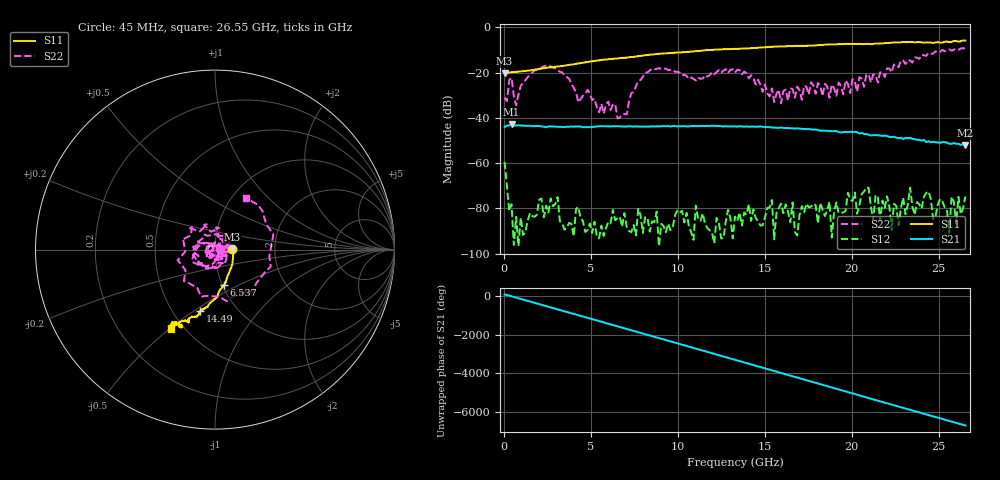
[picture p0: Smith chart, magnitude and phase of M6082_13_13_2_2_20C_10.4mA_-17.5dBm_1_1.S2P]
!  2-Port S-parameters saved by WinCal
! VAR MeasName=S-Parameters (CALIBRATED_DATA) read from VNA (C)
! VAR MeasDate=10/16/2015 11:02:53 AM
! VAR NAME=M6082_13_13_2_2_20C_10.4mA_-17.5dBm
! VAR FILENAME=M6082_13_13_2_2_20C_10.4mA_-17.5dBm_1_1.S2P
! VAR DATE=10/16/2015 11:02:53 AM
! VAR PHYS_PORTS=2,1
! VAR ObjTypeName=DATASET
! VAR IndexType=Frequency
# Hz S RI R 50
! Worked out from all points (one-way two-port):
!   201 points, 45 MHz to 26.55 GHz, reference 50 ohm
!   highest |S21| = -42.68 dB at 442.5 MHz (marker M1); lowest = -52.1 dB at 26.55 GHz (marker M2)
!   lowest |S11| = -20.3 dB at 45 MHz (marker M3), VSWR 1.21, Z = 60.7 + j0.181 ohm
!   |S11| at or under -10 dB: start of sweep to 11.82 GHz
!   |S22| runs from -40.2 to -9.2 dB; largest |S21 - S12| = 0.0072
!   S11 on the Smith chart (normalised r, x): 45 MHz: 1.21, +0.00; 6.537 GHz: 1.01, -0.42; 14.49 GHz: 0.68, -0.53; 26.55 GHz: 0.42, -0.51
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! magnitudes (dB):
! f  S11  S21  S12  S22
! 45 MHz  -20.3  -44.0  -59.4  -31.0
! 310 MHz  -20.0  -43.4  -81.1  -23.3
! 442.5 MHz  -19.8  -42.7  -78.2  -22.3
! 707.5 MHz  -19.7  -43.3  -83.7  -34.4
! 2.43 GHz  -17.9  -44.1  -78.8  -16.9
! 4.55 GHz  -15.6  -44.1  -85.5  -30.2
! 6.537 GHz  -13.8  -43.6  -84.3  -40.2
! 8.922 GHz  -11.7  -43.7  -96.7  -18.0
! 13.29 GHz  -9.5  -43.7  -83.5  -20.0
! 14.49 GHz  -9.1  -43.9  -84.2  -25.3
! 15.95 GHz  -8.4  -44.2  -77.9  -33.5
! 17.8 GHz  -8.1  -45.1  -77.9  -25.6
! 18.73 GHz  -7.6  -45.8  -77.0  -31.1
! 20.18 GHz  -7.3  -46.1  -72.9  -23.9
! 20.32 GHz  -7.3  -46.3  -82.3  -28.4
! 20.85 GHz  -7.3  -47.1  -70.7  -20.9
! 21.11 GHz  -7.4  -47.8  -79.4  -24.4
! 22.17 GHz  -6.9  -48.4  -79.2  -18.2
! 23.1 GHz  -6.5  -48.8  -82.5  -16.2
! 23.36 GHz  -6.5  -48.8  -70.8  -14.6
! 23.63 GHz  -6.6  -49.4  -82.9  -13.3
! 26.55 GHz  -5.9  -52.1  -74.7  -9.5
